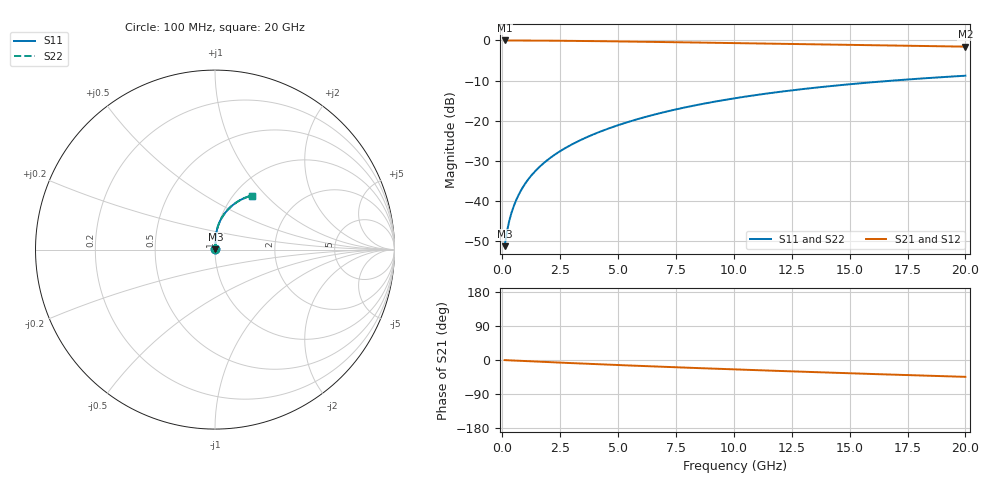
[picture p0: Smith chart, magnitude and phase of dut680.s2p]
! Touchstone file exported from HFSS 2024.1.0
!  File:  C:/UserFiles/LocalFiles/RDL_TSV_Batchsim/temp_RDL_top_680_1779782449.aedt
!  Generated:  04:02:46 PM May 26, 2026
!  Design:  RDL_top
!  Project:  temp_RDL_top_680_1779782449
!  Setup:  Setup1
!  Solution:  Sweep
! Variables:
!  dtsv = 10.80580581um
!  hbump = 3um
!  htsv = 69.3um
!  ldown = 100um
!  lrdl = 653.07um
!  p = 40
!  p1 = 54.77um
!  rhole = 1um
!  t = 450um
!  tdown = 3.915915916um
!  trdl = 4.92um
!  wdown = 15.38538539um
!  wrdl = 25.49um
# GHz S MA R 50.000000
! Terminal data exported
! Port[1] = Box2_T1
! Port[2] = Box2_T2
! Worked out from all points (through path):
!   200 points, 100 MHz to 20 GHz, reference 50 ohm
!   highest |S21| = -0.02 dB at 100 MHz (marker M1); lowest = -1.6 dB at 20 GHz (marker M2)
!   group delay of S21, straight-line fit = 6.1 ps
!   lowest |S11| = -51.2 dB at 100 MHz (marker M3), VSWR 1.01, Z = 50.2 + j0.184 ohm
!   |S11| at or under -10 dB: start of sweep to 16.89 GHz
!   |S22| runs from -51.2 to -8.8 dB; largest |S21 - S12| = 1.3e-14
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0.1  0.002743 42.0  0.9979 -0.3  0.9979 -0.3  0.002743 42.0
! Gamma 0 0 0 0
! Port Impedance 50 0 50 0
0.2  0.004165 58.3  0.9978 -0.6  0.9978 -0.6  0.004165 58.3
0.3  0.005657 66.0  0.9976 -0.9  0.9976 -0.9  0.005657 66.0
0.4  0.007173 70.7  0.9974 -1.1  0.9974 -1.1  0.007173 70.7
0.5  0.008714 73.9  0.9972 -1.4  0.9972 -1.4  0.008714 73.9
0.6  0.01027 76.2  0.9971 -1.7  0.9971 -1.7  0.01027 76.3
0.8  0.01345 79.4  0.9967 -2.2  0.9967 -2.2  0.01345 79.4
1.1  0.01829 82.2  0.9959 -3.1  0.9959 -3.1  0.01829 82.2
1.5  0.02486 84.2  0.9945 -4.2  0.9945 -4.2  0.02486 84.2
1.8  0.02986 85.1  0.9933 -5.0  0.9933 -5.0  0.02986 85.1
2.1  0.03494 85.8  0.9918 -5.8  0.9918 -5.8  0.03494 85.8
2.7  0.0453 86.5  0.9885 -7.4  0.9885 -7.4  0.0453 86.5
3.5  0.0596 86.7  0.9831 -9.5  0.9831 -9.5  0.0596 86.7
4.2  0.07259 86.5  0.9777 -11.3  0.9777 -11.3  0.07259 86.5
5  0.08794 85.9  0.9711 -13.3  0.9711 -13.3  0.08794 85.9
6.8  0.124 83.5  0.9552 -17.6  0.9552 -17.6  0.124 83.5
8.4  0.1569 80.5  0.9405 -21.2  0.9405 -21.2  0.1569 80.5
10.1  0.1916 76.9  0.9248 -24.9  0.9248 -24.9  0.1916 76.9
11.7  0.2233 73.4  0.9101 -28.3  0.9101 -28.3  0.2233 73.4
13.4  0.2556 69.6  0.8946 -31.8  0.8946 -31.8  0.2557 69.6
16.7  0.3132 62.5  0.8647 -38.3  0.8647 -38.3  0.3132 62.5
20  0.3632 55.9  0.8357 -44.5  0.8357 -44.5  0.3632 55.9
